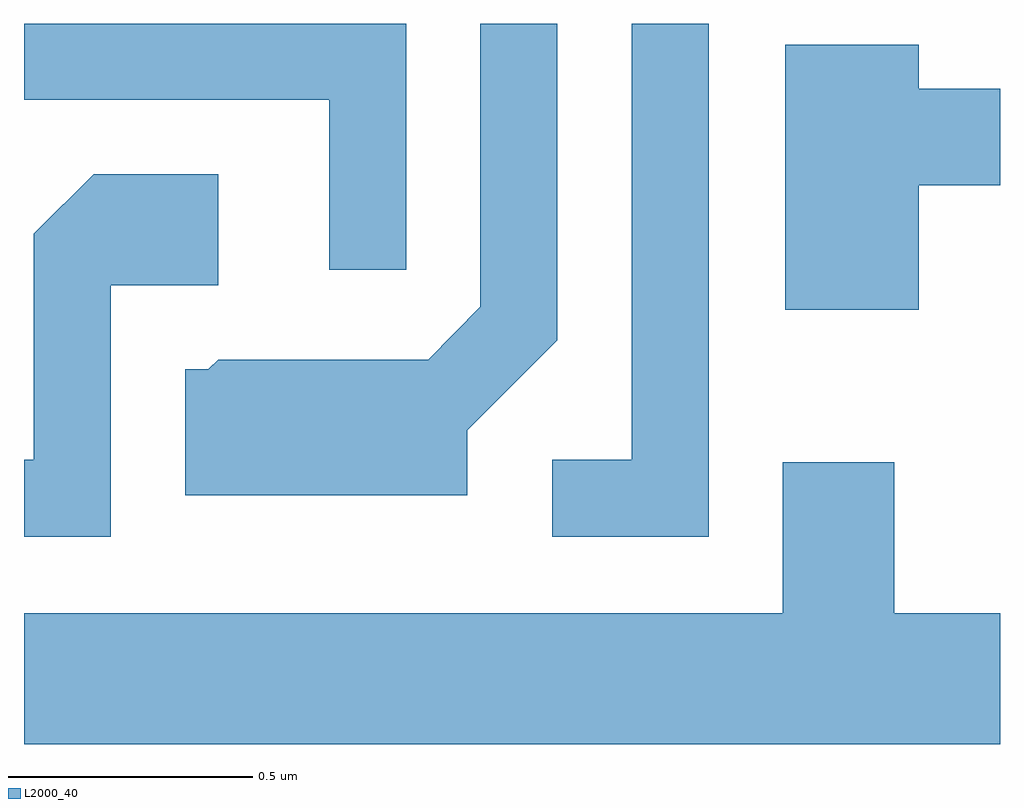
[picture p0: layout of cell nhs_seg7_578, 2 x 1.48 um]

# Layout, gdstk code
import gdstk
lib = gdstk.Library(unit=1e-6, precision=1e-09)
def P(c, l, *ps):  # polygons
    for p in ps: c.add(gdstk.Polygon(p, *l))
L2000_40 = (2000, 40)

nhs_seg7_578 = lib.new_cell('nhs_seg7_578')
P(nhs_seg7_578, L2000_40, [(190.519,1699.419),(190.704,1699.604),(190.704,1700.252),(190.546,1700.252),(190.546,1699.672),(190.439,1699.564),(190.009,1699.564),(189.989,1699.544),(189.941,1699.544),(189.941,1699.286),(190.519,1699.286)],
  [(190.394,1700.252),(189.611,1700.252),(189.611,1700.096),(190.236,1700.096),(190.236,1699.748),(190.394,1699.748)],
  [(191.014,1700.252),(190.856,1700.252),(190.856,1699.359),(190.693,1699.359),(190.693,1699.201),(191.014,1699.201)],
  [(191.444,1699.921),(191.611,1699.921),(191.611,1700.119),(191.444,1700.119),(191.444,1700.209),(191.171,1700.209),(191.171,1699.666),(191.444,1699.666)],
  [(189.789,1699.716),(190.009,1699.716),(190.009,1699.944),(189.754,1699.944),(189.631,1699.822),(189.631,1699.359),(189.611,1699.359),(189.611,1699.201),(189.789,1699.201)],
  [(191.611,1699.044),(191.394,1699.044),(191.394,1699.354),(191.166,1699.354),(191.166,1699.044),(189.611,1699.044),(189.611,1698.776),(191.611,1698.776)])

lib.write_gds('nhs_seg7_578.gds')
